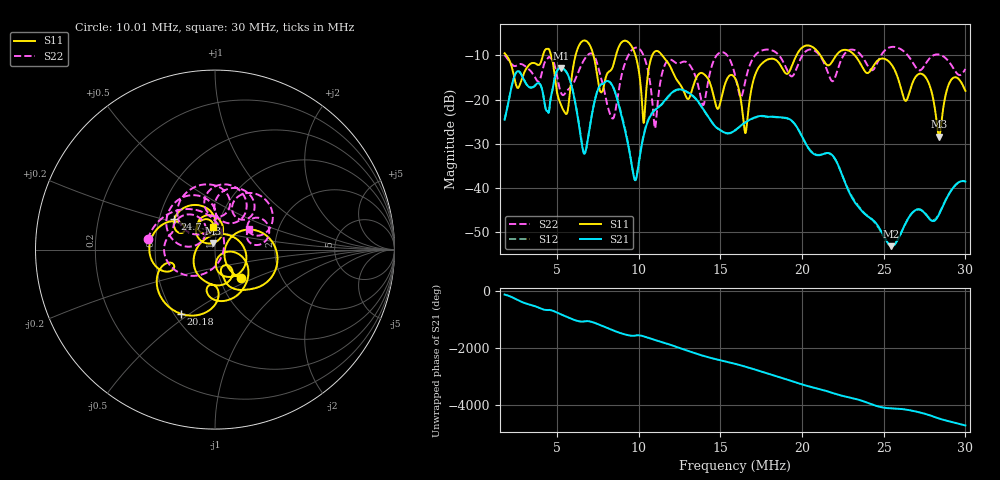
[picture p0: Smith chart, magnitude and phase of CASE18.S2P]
!Agilent Technologies,E5061B,MY49101568,A.02.00
!Date: Wed Mar 01 15:51:12 2023
!Data & Calibration Information:
!Freq	S11:SOLT2(OFF)	S21:SOLT2(OFF)	S12:SOLT2(OFF)	S22:SOLT2(OFF)
# Hz S dB R 50
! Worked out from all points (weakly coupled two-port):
!   1155 points, 1.8 MHz to 30 MHz, reference 50 ohm
!   highest |S21| = -12.84 dB at 5.246 MHz (marker M1); lowest = -53.1 dB at 25.45 MHz (marker M2)
!   lowest |S11| = -28.4 dB at 28.39 MHz (marker M3), VSWR 1.08, Z = 48.9 + j3.6 ohm
!   |S11| at or under -10 dB: 1.913 MHz to 4.146 MHz (2.233 MHz wide, 73.7 % of centre); 11.45 MHz to 19.66 MHz (8.213 MHz wide, 52.8 % of centre); 23.23 MHz to end of sweep (the widest 3 of 7)
!   |S22| runs from -26.5 to -8.1 dB; largest |S21 - S12| = 0.0033
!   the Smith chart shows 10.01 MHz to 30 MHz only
!   S11 on the Smith chart (normalised r, x): 10.01 MHz: 1.25, -0.42; 20.18 MHz: 0.54, -0.46; 24.7 MHz: 0.60, +0.22; 30 MHz: 0.95, +0.24
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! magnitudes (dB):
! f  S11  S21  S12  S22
! 1.8 MHz  -9.5  -24.5  -24.5  -9.9
! 2.606 MHz  -17.4  -13.6  -13.5  -12.1
! 4.464 MHz  -8.5  -22.8  -22.8  -10.6
! 5.246 MHz  -21.1  -12.8  -12.8  -18.4
! 6.516 MHz  -6.9  -29.8  -29.4  -12.0
! 8.154 MHz  -13.7  -15.8  -15.8  -22.1
! 10.01 MHz  -13.4  -34.4  -34.2  -8.4
! 10.33 MHz  -25.1  -27.9  -27.6  -10.2
! 11.21 MHz  -9.1  -21.7  -21.7  -19.3
! 12.99 MHz  -19.8  -18.3  -18.4  -11.6
! 13.95 MHz  -14.1  -22.1  -22.2  -21.2
! 14.87 MHz  -22.0  -26.6  -26.6  -9.6
! 15.9 MHz  -15.1  -26.9  -27.0  -14.4
! 16.54 MHz  -27.6  -25.1  -25.1  -15.7
! 17.42 MHz  -12.4  -23.7  -23.8  -9.1
! 20.18 MHz  -7.9  -29.6  -29.6  -9.3
! 20.62 MHz  -8.0  -32.0  -31.9  -8.7
! 24.7 MHz  -11.0  -48.8  -49.0  -11.0
! 25.31 MHz  -11.3  -52.6  -52.8  -8.3
! 25.45 MHz  -11.9  -53.1  -53.1  -8.1
! 28.39 MHz  -28.4  -45.9  -45.8  -9.8
! 30 MHz  -18.0  -38.5  -38.5  -13.1
